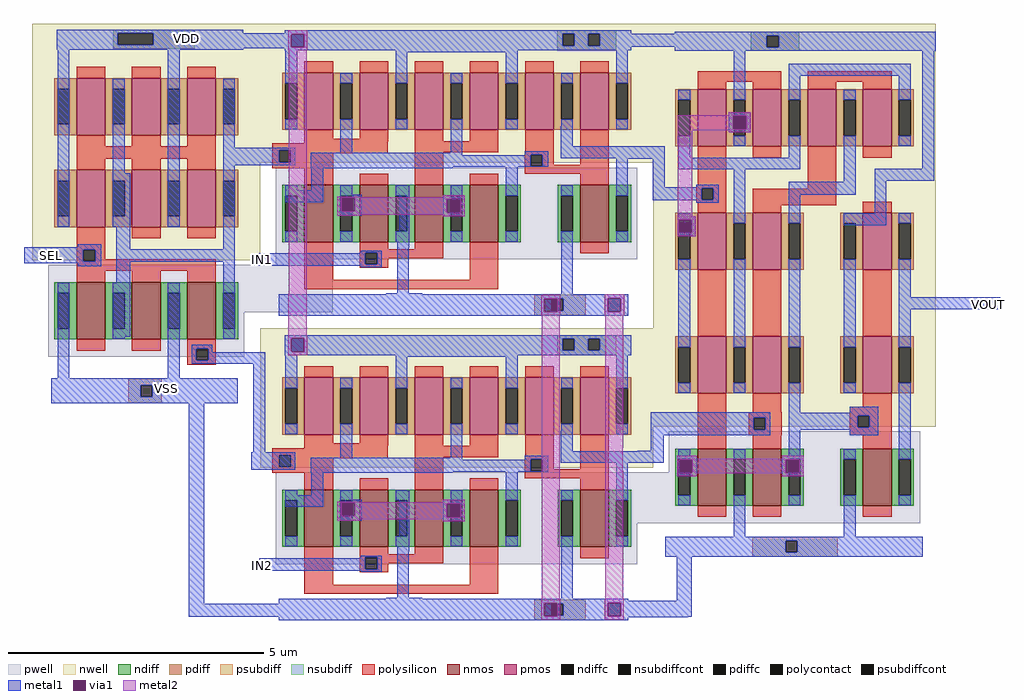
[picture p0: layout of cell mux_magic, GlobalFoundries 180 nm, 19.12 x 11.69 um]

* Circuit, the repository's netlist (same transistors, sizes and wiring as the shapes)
* NGSPICE file created from mux_magic.ext - technology: gf180mcuD

.subckt pmos_3p3_VZX6F7 a_164_n112# a_n164_n156# a_n252_n112# a_52_n156# w_n338_n242#
+ a_n52_n112#
X0 a_164_n112# a_52_n156# a_n52_n112# w_n338_n242# pfet_03v3 ad=0.4928p pd=3.12u as=0.2912p ps=1.64u w=1.12u l=0.56u
X1 a_n52_n112# a_n164_n156# a_n252_n112# w_n338_n242# pfet_03v3 ad=0.2912p pd=1.64u as=0.4928p ps=3.12u w=1.12u l=0.56u
.ends

.subckt nmos_3p3_F2UGVV a_164_n112# a_n164_n156# a_n252_n112# a_52_n156# a_n52_n112#
+ VSUBS
X0 a_164_n112# a_52_n156# a_n52_n112# VSUBS nfet_03v3 ad=0.4928p pd=3.12u as=0.2912p ps=1.64u w=1.12u l=0.56u
X1 a_n52_n112# a_n164_n156# a_n252_n112# VSUBS nfet_03v3 ad=0.2912p pd=1.64u as=0.4928p ps=3.12u w=1.12u l=0.56u
.ends

.subckt nmos_3p3_A2UGVV a_56_n112# a_n56_n156# a_n144_n112# VSUBS
X0 a_56_n112# a_n56_n156# a_n144_n112# VSUBS nfet_03v3 ad=0.4928p pd=3.12u as=0.4928p ps=3.12u w=1.12u l=0.56u
.ends

.subckt AND2_magic A B VDD VOUT VSS
Xpmos_3p3_VZX6F7_0 VDD A VDD A VDD a_1071_n42# pmos_3p3_VZX6F7
Xpmos_3p3_VZX6F7_1 VDD B VDD B VDD a_1071_n42# pmos_3p3_VZX6F7
Xpmos_3p3_VZX6F7_2 VDD a_1071_n42# VDD a_1071_n42# VDD VOUT pmos_3p3_VZX6F7
Xnmos_3p3_F2UGVV_0 m1_349_n207# B m1_349_n207# B VSS VSS nmos_3p3_F2UGVV
Xnmos_3p3_A2UGVV_0 m1_349_n207# A a_1071_n42# VSS nmos_3p3_A2UGVV
Xnmos_3p3_A2UGVV_1 a_1071_n42# A m1_349_n207# VSS nmos_3p3_A2UGVV
Xnmos_3p3_A2UGVV_2 VOUT a_1071_n42# VSS VSS nmos_3p3_A2UGVV
.ends

.subckt pmos_3p3_VRCSD7 a_n56_24# a_n272_24# a_272_n292# a_56_n292# a_160_24# a_n360_n292#
+ a_n160_68# a_n272_n336# a_n360_68# a_160_n336# a_n56_n336# a_272_68# a_56_68# w_n446_n422#
+ a_n160_n292#
X0 a_272_68# a_160_24# a_56_68# w_n446_n422# pfet_03v3 ad=0.4928p pd=3.12u as=0.2912p ps=1.64u w=1.12u l=0.56u
X1 a_56_n292# a_n56_n336# a_n160_n292# w_n446_n422# pfet_03v3 ad=0.2912p pd=1.64u as=0.2912p ps=1.64u w=1.12u l=0.56u
X2 a_272_n292# a_160_n336# a_56_n292# w_n446_n422# pfet_03v3 ad=0.4928p pd=3.12u as=0.2912p ps=1.64u w=1.12u l=0.56u
X3 a_n160_68# a_n272_24# a_n360_68# w_n446_n422# pfet_03v3 ad=0.2912p pd=1.64u as=0.4928p ps=3.12u w=1.12u l=0.56u
X4 a_n160_n292# a_n272_n336# a_n360_n292# w_n446_n422# pfet_03v3 ad=0.2912p pd=1.64u as=0.4928p ps=3.12u w=1.12u l=0.56u
X5 a_56_68# a_n56_24# a_n160_68# w_n446_n422# pfet_03v3 ad=0.2912p pd=1.64u as=0.2912p ps=1.64u w=1.12u l=0.56u
.ends

.subckt pmos_3p3_V9Y6F7 w_n230_n242# a_56_n112# a_n56_n156# a_n144_n112#
X0 a_56_n112# a_n56_n156# a_n144_n112# w_n230_n242# pfet_03v3 ad=0.4928p pd=3.12u as=0.4928p ps=3.12u w=1.12u l=0.56u
.ends

.subckt OR_magic A B VOUT VDD VSS
Xpmos_3p3_V9Y6F7_0 VDD VOUT a_822_n570# VDD pmos_3p3_V9Y6F7
Xpmos_3p3_V9Y6F7_4 VDD a_822_n570# B m1_99_40# pmos_3p3_V9Y6F7
Xpmos_3p3_VZX6F7_0 m1_99_40# B m1_99_40# B VDD a_822_n570# pmos_3p3_VZX6F7
Xpmos_3p3_V9Y6F7_5 VDD m1_99_40# A VDD pmos_3p3_V9Y6F7
Xpmos_3p3_VZX6F7_1 m1_99_40# A m1_99_40# A VDD VDD pmos_3p3_VZX6F7
Xpmos_3p3_V9Y6F7_6 VDD VOUT a_822_n570# VDD pmos_3p3_V9Y6F7
Xpmos_3p3_V9Y6F7_7 VDD a_822_n570# B m1_99_40# pmos_3p3_V9Y6F7
Xpmos_3p3_V9Y6F7_8 VDD m1_99_40# A VDD pmos_3p3_V9Y6F7
Xnmos_3p3_A2UGVV_0 a_822_n570# B VSS VSS nmos_3p3_A2UGVV
Xnmos_3p3_A2UGVV_1 VOUT a_822_n570# VSS VSS nmos_3p3_A2UGVV
Xnmos_3p3_A2UGVV_2 VSS A a_822_n570# VSS nmos_3p3_A2UGVV
.ends

.subckt nmos_3p3_G2UGVV a_272_n112# a_56_n112# a_n272_n156# a_160_n156# a_n56_n156#
+ a_n360_n112# a_n160_n112# VSUBS
X0 a_56_n112# a_n56_n156# a_n160_n112# VSUBS nfet_03v3 ad=0.2912p pd=1.64u as=0.2912p ps=1.64u w=1.12u l=0.56u
X1 a_272_n112# a_160_n156# a_56_n112# VSUBS nfet_03v3 ad=0.4928p pd=3.12u as=0.2912p ps=1.64u w=1.12u l=0.56u
X2 a_n160_n112# a_n272_n156# a_n360_n112# VSUBS nfet_03v3 ad=0.2912p pd=1.64u as=0.4928p ps=3.12u w=1.12u l=0.56u
.ends

.subckt mux_magic IN1 IN2 VOUT SEL VDD VSS
XAND2_magic_0 AND2_magic_0/A IN1 VDD OR_magic_0/A VSS AND2_magic
XAND2_magic_1 SEL IN2 VDD OR_magic_0/B VSS AND2_magic
Xpmos_3p3_VRCSD7_0 SEL SEL AND2_magic_0/A VDD SEL VDD AND2_magic_0/A SEL VDD SEL SEL
+ AND2_magic_0/A VDD VDD AND2_magic_0/A pmos_3p3_VRCSD7
XOR_magic_0 OR_magic_0/A OR_magic_0/B VOUT VDD VSS OR_magic
Xnmos_3p3_G2UGVV_0 AND2_magic_0/A VSS SEL SEL SEL VSS AND2_magic_0/A VSS nmos_3p3_G2UGVV
.ends

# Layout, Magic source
magic
tech gf180mcuD
magscale 1 10
<< nwell >>
rect -1604 1453 -712 1536
rect -1287 1438 -968 1453
rect -1287 1433 -1028 1438
<< pwell >>
rect -650 591 -427 612
rect -775 406 -427 591
rect 766 -421 891 -222
rect 1442 -421 1538 -61
<< psubdiff >>
rect -1229 120 -1098 145
rect -1229 74 -1180 120
rect -1134 74 -1098 120
rect -1229 50 -1098 74
<< nsubdiff >>
rect -1287 1499 -968 1512
rect -1287 1453 -1270 1499
rect -1130 1453 -968 1499
rect -1287 1438 -968 1453
<< psubdiffcont >>
rect -1180 74 -1134 120
<< nsubdiffcont >>
rect -1270 1453 -1130 1499
<< polysilicon >>
rect -1430 1007 -886 1055
rect -1430 651 -1318 710
rect -1430 605 -1404 651
rect -1358 613 -1318 651
rect -1358 605 -886 613
rect -1430 567 -886 605
rect -998 263 -886 289
rect -998 217 -962 263
rect -916 217 -886 263
rect -998 200 -886 217
<< polycontact >>
rect -1404 605 -1358 651
rect -962 217 -916 263
<< metal1 >>
rect -1508 1499 -778 1513
rect -1508 1453 -1270 1499
rect -1130 1498 -778 1499
rect -1130 1495 -529 1498
rect -1130 1453 -590 1495
rect -1508 1443 -590 1453
rect -538 1443 -529 1495
rect 692 1446 957 1496
rect -1508 1441 -529 1443
rect -1508 1439 -530 1441
rect -1508 1433 -778 1439
rect -1505 741 -1459 1433
rect -1289 950 -1243 1321
rect -1289 780 -1220 950
rect -1426 660 -1335 672
rect -1637 651 -1335 660
rect -1637 605 -1404 651
rect -1358 605 -1335 651
rect -1637 597 -1335 605
rect -1426 586 -1335 597
rect -1275 652 -1220 780
rect -1073 741 -1027 1433
rect -857 1050 -811 1321
rect -857 982 -707 1050
rect 766 1009 873 1055
rect 729 1006 873 1009
rect -857 652 -811 982
rect 827 845 873 1006
rect -1275 604 -811 652
rect -1505 146 -1459 521
rect -1275 480 -1220 604
rect -1289 310 -1220 480
rect -1289 301 -1243 310
rect -1073 146 -1027 521
rect -857 301 -811 604
rect -724 587 -558 636
rect 392 459 462 462
rect 392 407 401 459
rect 453 407 462 459
rect 392 405 462 407
rect 641 460 711 463
rect 641 408 650 460
rect 702 408 711 460
rect 1914 417 2187 464
rect 641 406 711 408
rect -599 303 -529 306
rect -980 263 -899 277
rect -980 217 -962 263
rect -916 249 -899 263
rect -599 251 -590 303
rect -538 251 -529 303
rect -599 249 -529 251
rect -916 217 -691 249
rect -980 203 -691 217
rect -1531 120 -800 146
rect -1531 74 -1180 120
rect -1134 74 -800 120
rect -1531 49 -800 74
rect -991 -737 -931 49
rect -738 -144 -691 203
rect 818 -77 941 13
rect 818 -138 869 -77
rect -746 -212 -574 -144
rect 768 -184 869 -138
rect 768 -185 827 -184
rect -715 -607 -559 -558
rect 920 -725 979 -520
rect 671 -730 979 -725
rect 392 -734 462 -731
rect -991 -788 -603 -737
rect 392 -786 401 -734
rect 453 -786 462 -734
rect 392 -788 462 -786
rect 641 -733 979 -730
rect 641 -785 650 -733
rect 702 -785 979 -733
rect 641 -787 979 -785
rect 671 -788 979 -787
rect 671 -790 965 -788
<< via1 >>
rect -590 1443 -538 1495
rect 401 407 453 459
rect 650 408 702 460
rect -590 251 -538 303
rect 401 -786 453 -734
rect 650 -785 702 -733
<< metal2 >>
rect -601 1495 -527 1510
rect -601 1443 -590 1495
rect -538 1443 -527 1495
rect -601 1431 -527 1443
rect -599 476 -529 1431
rect -602 316 -529 476
rect 390 459 465 474
rect 390 407 401 459
rect 453 407 465 459
rect 390 392 465 407
rect 639 460 715 475
rect 639 408 650 460
rect 702 408 715 460
rect 639 392 715 408
rect -602 303 -527 316
rect -602 251 -590 303
rect -538 251 -527 303
rect -602 237 -527 251
rect 392 -718 462 392
rect 641 -125 711 392
rect 641 -215 708 -125
rect 641 -718 711 -215
rect 390 -734 465 -718
rect 390 -786 401 -734
rect 453 -786 465 -734
rect 390 -800 465 -786
rect 639 -733 713 -718
rect 639 -785 650 -733
rect 702 -785 713 -733
rect 639 -799 713 -785
use AND2_magic  AND2_magic_0
transform 1 0 -747 0 1 990
box 35 -598 1575 546
use AND2_magic  AND2_magic_1
transform 1 0 -747 0 1 -204
box 35 -598 1575 546
use nmos_3p3_G2UGVV  nmos_3p3_G2UGVV_0
transform 1 0 -1158 0 1 411
box -384 -180 384 180
use OR_magic  OR_magic_0
transform 1 0 828 0 1 925
box 0 -1478 1136 611
use pmos_3p3_VRCSD7  pmos_3p3_VRCSD7_0
transform 1 0 -1158 0 1 1031
box -446 -422 446 422
<< labels >>
flabel metal1 s -701 611 -701 611 0 FreeSans 750 0 0 0 IN1
port 1 nsew
flabel metal1 s -701 -588 -701 -588 0 FreeSans 750 0 0 0 IN2
port 2 nsew
flabel metal1 s 2142 436 2142 436 0 FreeSans 750 0 0 0 VOUT
port 3 nsew
flabel metal1 s -1530 626 -1530 626 0 FreeSans 750 0 0 0 SEL
port 4 nsew
flabel metal1 s -1001 1478 -1001 1478 0 FreeSans 1250 0 0 0 VDD
port 5 nsew
rlabel metal1 -1134 60 -1027 150 0 VSS
port 6 nsew
<< end >>

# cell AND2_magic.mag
magic
tech gf180mcuD
magscale 1 10
<< nwell >>
rect 35 484 1575 546
rect 35 441 1489 484
rect 35 404 196 441
rect 608 434 1041 441
rect 35 403 51 404
rect 208 38 536 95
rect 641 42 969 86
<< pwell >>
rect 721 -378 1403 -18
<< psubdiff >>
rect 1110 -532 1310 -517
rect 1110 -578 1177 -532
rect 1223 -578 1310 -532
rect 1110 -596 1310 -578
<< nsubdiff >>
rect 1200 506 1430 520
rect 1200 460 1220 506
rect 1266 460 1320 506
rect 1366 460 1430 506
rect 1200 440 1430 460
<< psubdiffcont >>
rect 1177 -578 1223 -532
<< nsubdiffcont >>
rect 1220 460 1266 506
rect 1320 460 1366 506
<< polysilicon >>
rect 208 77 536 95
rect 82 49 536 77
rect 82 3 110 49
rect 156 38 536 49
rect 641 42 969 86
rect 1073 46 1185 86
rect 156 3 321 38
rect 82 -20 321 3
rect 209 -42 321 -20
rect 641 -42 753 42
rect 1071 33 1185 46
rect 1071 -13 1095 33
rect 1141 -6 1185 33
rect 1289 -6 1401 101
rect 1141 -13 1401 -6
rect 1071 -42 1401 -13
rect 209 -458 321 -312
rect 425 -339 641 -338
rect 425 -351 753 -339
rect 425 -397 448 -351
rect 494 -374 753 -351
rect 494 -397 537 -374
rect 425 -410 537 -397
rect 857 -458 969 -354
rect 209 -494 969 -458
<< polycontact >>
rect 110 3 156 49
rect 1095 -13 1141 33
rect 448 -397 494 -351
<< metal1 >>
rect 131 506 1489 520
rect 131 460 1220 506
rect 1266 460 1320 506
rect 1366 460 1489 506
rect 131 441 1489 460
rect 134 341 180 441
rect 566 434 1044 441
rect 566 341 612 434
rect 998 341 1044 434
rect 1430 341 1476 441
rect 35 49 173 60
rect 35 3 110 49
rect 156 3 173 49
rect 350 40 396 143
rect 782 40 828 143
rect 1213 65 1260 143
rect 35 -8 173 3
rect 234 31 828 40
rect 1071 33 1164 46
rect 1071 31 1095 33
rect 234 -13 1095 31
rect 1141 -13 1164 33
rect 1213 19 1520 65
rect 234 -15 1164 -13
rect 234 -20 790 -15
rect 235 -107 282 -20
rect 134 -153 282 -107
rect 349 -137 433 -125
rect 349 -189 354 -137
rect 406 -189 433 -137
rect 349 -207 433 -189
rect 580 -297 620 -90
rect 998 -99 1044 -15
rect 1430 -99 1476 19
rect 750 -142 836 -126
rect 750 -194 767 -142
rect 819 -194 836 -142
rect 750 -209 836 -194
rect 572 -330 620 -297
rect 429 -351 512 -344
rect 425 -354 448 -351
rect 148 -397 448 -354
rect 494 -397 512 -351
rect 148 -403 512 -397
rect 429 -408 512 -403
rect 572 -510 618 -330
rect 530 -514 670 -510
rect 1214 -514 1260 -297
rect 109 -532 1477 -514
rect 109 -578 1177 -532
rect 1223 -578 1477 -532
rect 109 -598 1477 -578
<< via1 >>
rect 354 -189 406 -137
rect 767 -194 819 -142
<< metal2 >>
rect 338 -135 426 -133
rect 750 -135 836 -126
rect 338 -137 836 -135
rect 338 -189 354 -137
rect 406 -142 836 -137
rect 406 -189 767 -142
rect 338 -194 767 -189
rect 819 -194 836 -142
rect 338 -202 836 -194
rect 338 -207 426 -202
rect 750 -209 836 -202
use nmos_3p3_A2UGVV  nmos_3p3_A2UGVV_0
transform 1 0 265 0 1 -198
box -168 -180 168 180
use nmos_3p3_A2UGVV  nmos_3p3_A2UGVV_1
transform 1 0 913 0 1 -198
box -168 -180 168 180
use nmos_3p3_A2UGVV  nmos_3p3_A2UGVV_2
transform 1 0 1345 0 1 -198
box -168 -180 168 180
use nmos_3p3_F2UGVV  nmos_3p3_F2UGVV_0
transform 1 0 589 0 1 -198
box -276 -180 276 180
use pmos_3p3_VZX6F7  pmos_3p3_VZX6F7_0
transform 1 0 373 0 1 242
box -338 -242 338 242
use pmos_3p3_VZX6F7  pmos_3p3_VZX6F7_1
transform 1 0 805 0 1 242
box -338 -242 338 242
use pmos_3p3_VZX6F7  pmos_3p3_VZX6F7_2
transform 1 0 1237 0 1 242
box -338 -242 338 242
<< labels >>
flabel metal1 s 44 25 44 25 0 FreeSans 750 0 0 0 A
port 2 nsew
flabel metal1 s 164 -381 164 -381 0 FreeSans 750 0 0 0 B
port 3 nsew
flabel metal1 s 591 495 591 495 0 FreeSans 1250 0 0 0 VDD
port 4 nsew
rlabel metal1 1430 -20 1476 65 0 VOUT
port 5 nsew
rlabel metal1 1223 -598 1260 -480 0 VSS
port 6 nsew
<< end >>

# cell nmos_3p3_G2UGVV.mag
magic
tech gf180mcuD
magscale 1 10
<< pwell >>
rect -384 -180 384 180
<< nmos >>
rect -272 -112 -160 112
rect -56 -112 56 112
rect 160 -112 272 112
<< ndiff >>
rect -360 70 -272 112
rect -360 -70 -347 70
rect -301 -70 -272 70
rect -360 -112 -272 -70
rect -160 70 -56 112
rect -160 -70 -131 70
rect -85 -70 -56 70
rect -160 -112 -56 -70
rect 56 70 160 112
rect 56 -70 85 70
rect 131 -70 160 70
rect 56 -112 160 -70
rect 272 70 360 112
rect 272 -70 301 70
rect 347 -70 360 70
rect 272 -112 360 -70
<< ndiffc >>
rect -347 -70 -301 70
rect -131 -70 -85 70
rect 85 -70 131 70
rect 301 -70 347 70
<< polysilicon >>
rect -272 112 -160 156
rect -56 112 56 156
rect 160 112 272 156
rect -272 -156 -160 -112
rect -56 -156 56 -112
rect 160 -156 272 -112
<< metal1 >>
rect -347 70 -301 110
rect -347 -110 -301 -70
rect -131 70 -85 110
rect -131 -110 -85 -70
rect 85 70 131 110
rect 85 -110 131 -70
rect 301 70 347 110
rect 301 -110 347 -70
<< end >>

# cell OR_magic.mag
magic
tech gf180mcuD
magscale 1 10
<< nwell >>
rect 0 466 1108 611
rect 297 185 382 263
<< pwell >>
rect 614 -1346 710 -986
<< pdiff >>
rect 297 185 382 263
<< psubdiff >>
rect 388 -1415 723 -1400
rect 388 -1461 519 -1415
rect 565 -1461 723 -1415
rect 388 -1478 723 -1461
<< nsubdiff >>
rect 382 564 573 579
rect 382 518 446 564
rect 492 518 573 564
rect 382 504 573 518
<< psubdiffcont >>
rect 519 -1461 565 -1415
<< nsubdiffcont >>
rect 446 518 492 564
<< polysilicon >>
rect 174 384 502 425
rect 606 384 934 425
rect 174 -20 286 126
rect 168 -33 286 -20
rect 168 -79 190 -33
rect 236 -79 286 -33
rect 606 -36 718 115
rect 168 -90 286 -79
rect 168 -91 177 -90
rect 390 -100 718 -36
rect 174 -570 286 -354
rect 390 -572 502 -391
rect 822 -570 934 -389
rect 174 -1010 286 -864
rect 390 -912 502 -838
rect 822 -890 934 -881
rect 375 -934 503 -912
rect 375 -980 394 -934
rect 440 -980 503 -934
rect 375 -1002 503 -980
rect 770 -925 934 -890
rect 770 -971 801 -925
rect 847 -971 934 -925
rect 770 -1002 934 -971
rect 390 -1023 502 -1002
rect 822 -1010 934 -1002
<< polycontact >>
rect 190 -79 236 -33
rect 394 -980 440 -934
rect 801 -971 847 -925
<< metal1 >>
rect 84 564 1108 579
rect 84 518 446 564
rect 492 518 1108 564
rect 84 504 1108 518
rect 315 341 361 504
rect 531 407 1009 453
rect 531 341 577 407
rect 963 341 1009 407
rect 297 250 382 263
rect 297 198 313 250
rect 365 198 382 250
rect 297 185 382 198
rect 99 86 145 154
rect 531 86 577 146
rect 99 40 577 86
rect 168 -31 258 -20
rect 38 -33 258 -31
rect 38 -79 190 -33
rect 236 -79 258 -33
rect 38 -80 258 -79
rect 168 -91 258 -80
rect 97 -157 166 -143
rect 315 -152 361 40
rect 747 -8 793 145
rect 1055 42 1101 504
rect 531 -60 793 -8
rect 868 -4 1101 42
rect 531 -143 577 -60
rect 868 -132 914 -4
rect 97 -209 100 -157
rect 152 -209 166 -157
rect 747 -178 914 -132
rect 97 -223 166 -209
rect 99 -628 145 -337
rect 315 -628 361 -337
rect 531 -629 577 -338
rect 747 -627 793 -337
rect 963 -461 1009 -337
rect 963 -508 1136 -461
rect 963 -627 1009 -508
rect 113 -934 458 -912
rect 113 -980 394 -934
rect 440 -980 458 -934
rect 113 -1002 458 -980
rect 531 -914 577 -825
rect 770 -914 882 -890
rect 531 -925 882 -914
rect 531 -971 801 -925
rect 847 -971 882 -925
rect 531 -981 882 -971
rect 531 -1083 577 -981
rect 770 -1002 882 -981
rect 963 -1070 1009 -818
rect 95 -1097 171 -1083
rect 95 -1149 102 -1097
rect 154 -1149 171 -1097
rect 95 -1162 171 -1149
rect 504 -1097 590 -1083
rect 504 -1149 520 -1097
rect 572 -1149 590 -1097
rect 504 -1163 590 -1149
rect 315 -1400 361 -1264
rect 747 -1400 793 -1240
rect 48 -1415 1057 -1400
rect 48 -1461 519 -1415
rect 565 -1461 1057 -1415
rect 48 -1478 1057 -1461
<< via1 >>
rect 313 198 365 250
rect 100 -209 152 -157
rect 102 -1149 154 -1097
rect 520 -1149 572 -1097
<< metal2 >>
rect 297 253 382 263
rect 97 250 382 253
rect 97 198 313 250
rect 365 198 382 250
rect 97 194 382 198
rect 97 -143 153 194
rect 297 185 382 194
rect 97 -157 166 -143
rect 97 -209 100 -157
rect 152 -209 166 -157
rect 97 -223 166 -209
rect 95 -1094 171 -1083
rect 504 -1094 590 -1083
rect 95 -1097 590 -1094
rect 95 -1149 102 -1097
rect 154 -1149 520 -1097
rect 572 -1149 590 -1097
rect 95 -1150 590 -1149
rect 95 -1162 171 -1150
rect 504 -1163 590 -1150
use nmos_3p3_A2UGVV  nmos_3p3_A2UGVV_0
transform 1 0 446 0 1 -1166
box -168 -180 168 180
use nmos_3p3_A2UGVV  nmos_3p3_A2UGVV_1
transform 1 0 878 0 1 -1166
box -168 -180 168 180
use nmos_3p3_A2UGVV  nmos_3p3_A2UGVV_2
transform 1 0 230 0 1 -1166
box -168 -180 168 180
use pmos_3p3_V9Y6F7  pmos_3p3_V9Y6F7_0
transform 1 0 878 0 1 -242
box -230 -242 230 242
use pmos_3p3_V9Y6F7  pmos_3p3_V9Y6F7_4
transform 1 0 446 0 1 -242
box -230 -242 230 242
use pmos_3p3_V9Y6F7  pmos_3p3_V9Y6F7_5
transform 1 0 230 0 1 -242
box -230 -242 230 242
use pmos_3p3_V9Y6F7  pmos_3p3_V9Y6F7_6
transform 1 0 878 0 1 -726
box -230 -242 230 242
use pmos_3p3_V9Y6F7  pmos_3p3_V9Y6F7_7
transform 1 0 446 0 1 -726
box -230 -242 230 242
use pmos_3p3_V9Y6F7  pmos_3p3_V9Y6F7_8
transform 1 0 230 0 1 -726
box -230 -242 230 242
use pmos_3p3_VZX6F7  pmos_3p3_VZX6F7_0
transform 1 0 770 0 1 242
box -338 -242 338 242
use pmos_3p3_VZX6F7  pmos_3p3_VZX6F7_1
transform 1 0 338 0 1 242
box -338 -242 338 242
<< labels >>
flabel metal1 s 70 -70 70 -70 0 FreeSans 750 0 0 0 A
port 1 nsew
flabel metal1 s 150 -970 150 -970 0 FreeSans 750 0 0 0 B
port 2 nsew
flabel metal1 s 1120 -490 1120 -490 0 FreeSans 750 0 0 0 VOUT
port 3 nsew
rlabel metal1 460 520 560 550 0 VDD
port 4 nsew
rlabel metal1 380 -1460 470 -1430 0 VSS
port 5 nsew
<< end >>

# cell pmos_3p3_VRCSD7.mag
magic
tech gf180mcuD
magscale 1 10
<< nwell >>
rect -446 -422 446 422
<< pmos >>
rect -272 68 -160 292
rect -56 68 56 292
rect 160 68 272 292
rect -272 -292 -160 -68
rect -56 -292 56 -68
rect 160 -292 272 -68
<< pdiff >>
rect -360 250 -272 292
rect -360 110 -347 250
rect -301 110 -272 250
rect -360 68 -272 110
rect -160 250 -56 292
rect -160 110 -131 250
rect -85 110 -56 250
rect -160 68 -56 110
rect 56 250 160 292
rect 56 110 85 250
rect 131 110 160 250
rect 56 68 160 110
rect 272 250 360 292
rect 272 110 301 250
rect 347 110 360 250
rect 272 68 360 110
rect -360 -110 -272 -68
rect -360 -250 -347 -110
rect -301 -250 -272 -110
rect -360 -292 -272 -250
rect -160 -110 -56 -68
rect -160 -250 -131 -110
rect -85 -250 -56 -110
rect -160 -292 -56 -250
rect 56 -110 160 -68
rect 56 -250 85 -110
rect 131 -250 160 -110
rect 56 -292 160 -250
rect 272 -110 360 -68
rect 272 -250 301 -110
rect 347 -250 360 -110
rect 272 -292 360 -250
<< pdiffc >>
rect -347 110 -301 250
rect -131 110 -85 250
rect 85 110 131 250
rect 301 110 347 250
rect -347 -250 -301 -110
rect -131 -250 -85 -110
rect 85 -250 131 -110
rect 301 -250 347 -110
<< polysilicon >>
rect -272 292 -160 336
rect -56 292 56 336
rect 160 292 272 336
rect -272 24 -160 68
rect -56 24 56 68
rect 160 24 272 68
rect -272 -68 -160 -24
rect -56 -68 56 -24
rect 160 -68 272 -24
rect -272 -336 -160 -292
rect -56 -336 56 -292
rect 160 -336 272 -292
<< metal1 >>
rect -347 250 -301 290
rect -347 70 -301 110
rect -131 250 -85 290
rect -131 70 -85 110
rect 85 250 131 290
rect 85 70 131 110
rect 301 250 347 290
rect 301 70 347 110
rect -347 -110 -301 -70
rect -347 -290 -301 -250
rect -131 -110 -85 -70
rect -131 -290 -85 -250
rect 85 -110 131 -70
rect 85 -290 131 -250
rect 301 -110 347 -70
rect 301 -290 347 -250
<< end >>

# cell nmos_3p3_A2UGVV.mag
magic
tech gf180mcuD
magscale 1 10
<< pwell >>
rect -168 -180 168 180
<< nmos >>
rect -56 -112 56 112
<< ndiff >>
rect -144 70 -56 112
rect -144 -70 -131 70
rect -85 -70 -56 70
rect -144 -112 -56 -70
rect 56 70 144 112
rect 56 -70 85 70
rect 131 -70 144 70
rect 56 -112 144 -70
<< ndiffc >>
rect -131 -70 -85 70
rect 85 -70 131 70
<< polysilicon >>
rect -56 112 56 156
rect -56 -156 56 -112
<< metal1 >>
rect -131 70 -85 110
rect -131 -110 -85 -70
rect 85 70 131 110
rect 85 -110 131 -70
<< end >>

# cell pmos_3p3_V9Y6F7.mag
magic
tech gf180mcuD
magscale 1 10
<< nwell >>
rect -230 -242 230 242
<< pmos >>
rect -56 -112 56 112
<< pdiff >>
rect -144 70 -56 112
rect -144 -70 -131 70
rect -85 -70 -56 70
rect -144 -112 -56 -70
rect 56 70 144 112
rect 56 -70 85 70
rect 131 -70 144 70
rect 56 -112 144 -70
<< pdiffc >>
rect -131 -70 -85 70
rect 85 -70 131 70
<< polysilicon >>
rect -56 112 56 156
rect -56 -156 56 -112
<< metal1 >>
rect -131 70 -85 110
rect -131 -110 -85 -70
rect 85 70 131 110
rect 85 -110 131 -70
<< end >>

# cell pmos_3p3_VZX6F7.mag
magic
tech gf180mcuD
magscale 1 10
<< nwell >>
rect -338 -242 338 242
<< pmos >>
rect -164 -112 -52 112
rect 52 -112 164 112
<< pdiff >>
rect -252 70 -164 112
rect -252 -70 -239 70
rect -193 -70 -164 70
rect -252 -112 -164 -70
rect -52 70 52 112
rect -52 -70 -23 70
rect 23 -70 52 70
rect -52 -112 52 -70
rect 164 70 252 112
rect 164 -70 193 70
rect 239 -70 252 70
rect 164 -112 252 -70
<< pdiffc >>
rect -239 -70 -193 70
rect -23 -70 23 70
rect 193 -70 239 70
<< polysilicon >>
rect -164 112 -52 156
rect 52 112 164 156
rect -164 -156 -52 -112
rect 52 -156 164 -112
<< metal1 >>
rect -239 70 -193 110
rect -239 -110 -193 -70
rect -23 70 23 110
rect -23 -110 23 -70
rect 193 70 239 110
rect 193 -110 239 -70
<< end >>

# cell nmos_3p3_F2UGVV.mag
magic
tech gf180mcuD
magscale 1 10
<< pwell >>
rect -276 -180 276 180
<< nmos >>
rect -164 -112 -52 112
rect 52 -112 164 112
<< ndiff >>
rect -252 70 -164 112
rect -252 -70 -239 70
rect -193 -70 -164 70
rect -252 -112 -164 -70
rect -52 70 52 112
rect -52 -70 -23 70
rect 23 -70 52 70
rect -52 -112 52 -70
rect 164 70 252 112
rect 164 -70 193 70
rect 239 -70 252 70
rect 164 -112 252 -70
<< ndiffc >>
rect -239 -70 -193 70
rect -23 -70 23 70
rect 193 -70 239 70
<< polysilicon >>
rect -164 112 -52 156
rect 52 112 164 156
rect -164 -156 -52 -112
rect 52 -156 164 -112
<< metal1 >>
rect -239 70 -193 110
rect -239 -110 -193 -70
rect -23 70 23 110
rect -23 -110 23 -70
rect 193 70 239 110
rect 193 -110 239 -70
<< end >>
